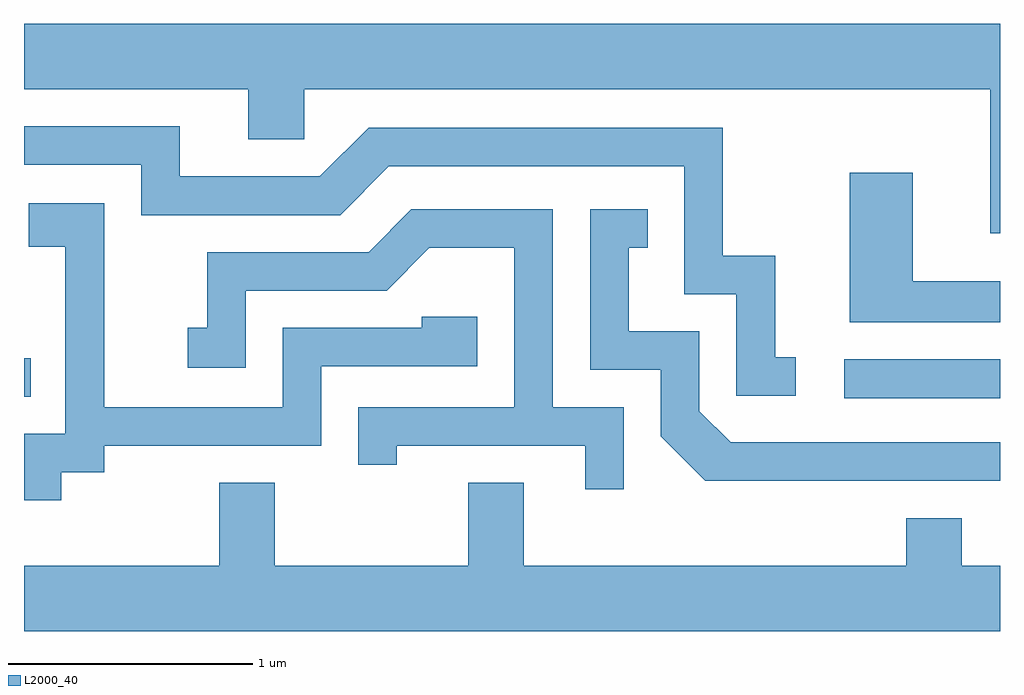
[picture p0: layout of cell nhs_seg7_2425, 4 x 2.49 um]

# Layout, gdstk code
import gdstk
lib = gdstk.Library(unit=1e-6, precision=1e-09)
def R(c, l, rs):  # rectangles x0, y0, x1, y1
    for r in rs: c.add(gdstk.rectangle(r[:2], r[2:], *l))
def P(c, l, *ps):  # polygons
    for p in ps: c.add(gdstk.Polygon(p, *l))
L2000_40 = (2000, 40)

nhs_seg7_2425 = lib.new_cell('nhs_seg7_2425')
R(nhs_seg7_2425, L2000_40, [(262.973,1715.271,263.611,1715.429), (259.611,1715.276,259.638,1715.434)])
P(nhs_seg7_2425, L2000_40, [(263.611,1716.804),(259.611,1716.804),(259.611,1716.536),(260.531,1716.536),(260.531,1716.331),(260.759,1716.331),(260.759,1716.536),(263.571,1716.536),(263.571,1715.946),(263.611,1715.946)],
  [(262.773,1715.439),(262.689,1715.439),(262.689,1715.854),(262.474,1715.854),(262.474,1716.379),(261.024,1716.379),(260.824,1716.179),(260.249,1716.179),(260.249,1716.384),(259.611,1716.384),(259.611,1716.226),(260.091,1716.226),(260.091,1716.021),(260.907,1716.021),(261.106,1716.221),(262.316,1716.221),(262.316,1715.696),(262.531,1715.696),(262.531,1715.281),(262.773,1715.281)],
  [(263.611,1715.749),(263.254,1715.749),(263.254,1716.194),(262.996,1716.194),(262.996,1715.581),(263.611,1715.581)],
  [(259.764,1714.966),(259.939,1714.966),(259.939,1715.076),(260.829,1715.076),(260.829,1715.401),(261.469,1715.401),(261.469,1715.604),(261.241,1715.604),(261.241,1715.559),(260.671,1715.559),(260.671,1715.234),(259.939,1715.234),(259.939,1716.069),(259.631,1716.069),(259.631,1715.891),(259.781,1715.891),(259.781,1715.124),(259.611,1715.124),(259.611,1714.853),(259.764,1714.853)],
  [(263.611,1715.089),(262.507,1715.089),(262.379,1715.217),(262.379,1715.544),(262.089,1715.544),(262.089,1715.886),(262.168,1715.886),(262.168,1716.044),(261.931,1716.044),(261.931,1715.386),(262.221,1715.386),(262.221,1715.114),(262.404,1714.931),(263.611,1714.931)],
  [(262.069,1715.234),(261.779,1715.234),(261.779,1716.044),(261.199,1716.044),(261.024,1715.869),(260.361,1715.869),(260.361,1715.559),(260.283,1715.559),(260.283,1715.396),(260.519,1715.396),(260.519,1715.711),(261.097,1715.711),(261.272,1715.886),(261.621,1715.886),(261.621,1715.234),(260.981,1715.234),(260.981,1714.998),(261.139,1714.998),(261.139,1715.076),(261.911,1715.076),(261.911,1714.898),(262.069,1714.898)],
  [(263.611,1714.584),(263.454,1714.584),(263.454,1714.779),(263.226,1714.779),(263.226,1714.584),(261.659,1714.584),(261.659,1714.924),(261.431,1714.924),(261.431,1714.584),(260.639,1714.584),(260.639,1714.924),(260.411,1714.924),(260.411,1714.584),(259.611,1714.584),(259.611,1714.316),(263.611,1714.316)])

lib.write_gds('nhs_seg7_2425.gds')
